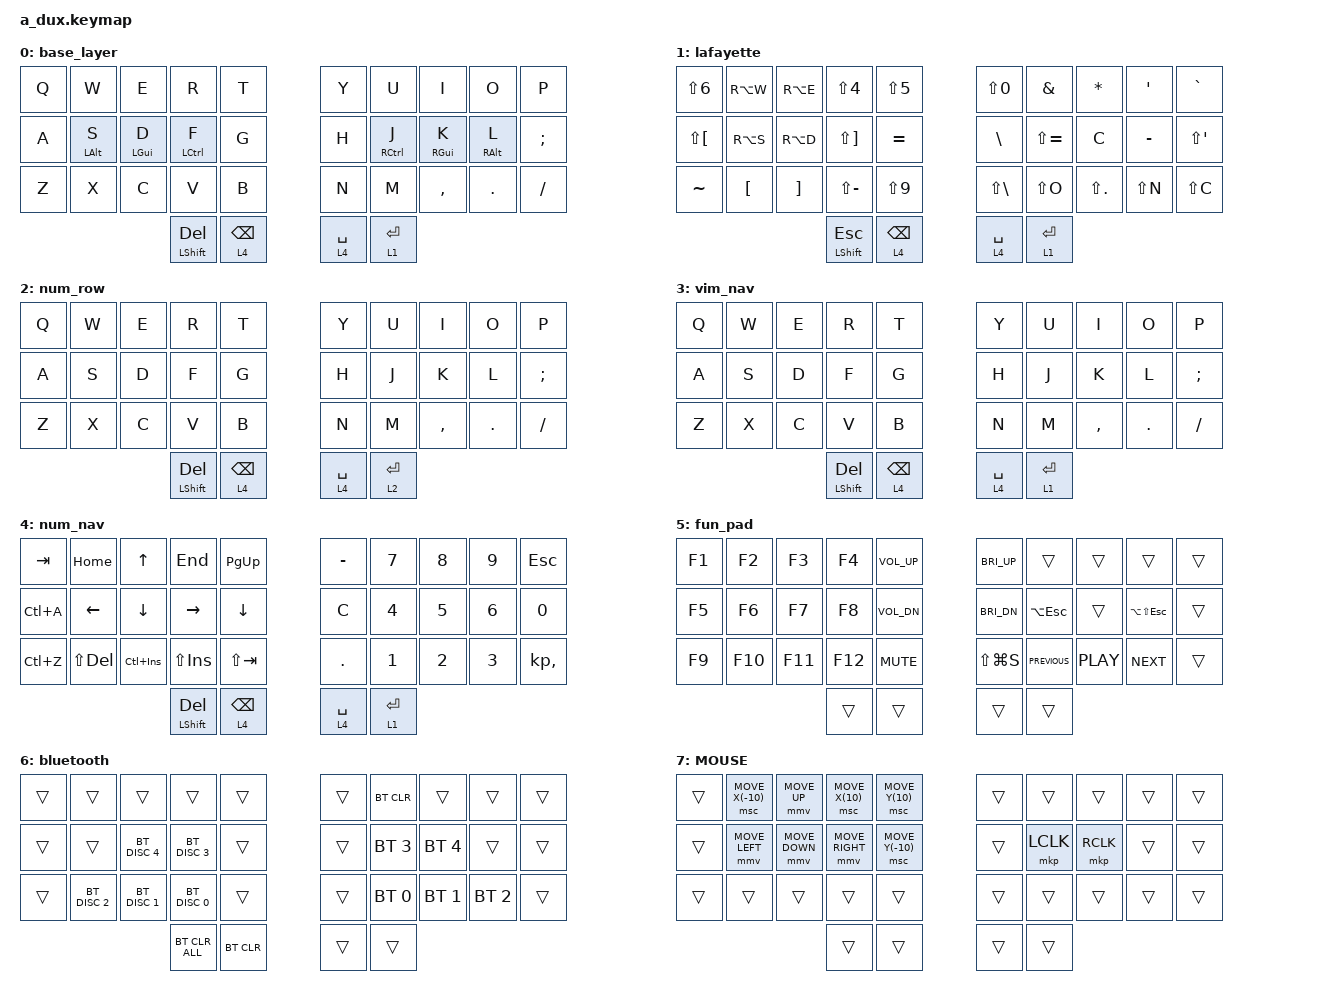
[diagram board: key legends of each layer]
/*
 * Copyright (c) 2021 The ZMK Contributors
 *
 * SPDX-License-Identifier: MIT
 */

#define ZMK_POINTING_DEFAULT_MOVE_VAL 600  // default: 600
#define ZMK_POINTING_DEFAULT_SCRL_VAL 10    // default: 10

#include <behaviors.dtsi>
#include <dt-bindings/zmk/bt.h>
#include <dt-bindings/zmk/keys.h>
#include <dt-bindings/zmk/pointing.h>

/ {
    behaviors {
        hml: hml {
            compatible = "zmk,behavior-hold-tap";
            flavor = "balanced";
            tapping-term-ms = <280>;
            quick-tap-ms = <175>;
            #binding-cells = <2>;
            bindings = <&kp>, <&kp>;

            hold-trigger-key-positions = <5 6 7 8 9 19 18 17 16 15 25 26 27 28 29>;
            require-prior-idle-ms = <150>;
            hold-trigger-on-release;
        };

        hmr: hmr {
            compatible = "zmk,behavior-hold-tap";
            flavor = "balanced";
            tapping-term-ms = <280>;
            quick-tap-ms = <175>;
            #binding-cells = <2>;
            bindings = <&kp>, <&kp>;

            hold-trigger-key-positions = <4 3 2 1 0 10 11 12 13 14 20 21 22 23 24>;
            require-prior-idle-ms = <150>;
            hold-trigger-on-release;
        };
    };

    combos {
        compatible = "zmk,combos";

        combo_fun_pad {
            bindings = <&mo 5>;
            key-positions = <32 31>;
        };

        combo_bt_pad {
            bindings = <&mo 6>;
            key-positions = <20 0>;
        };

        combo_mouse {
            bindings = <&mo 7>;
            key-positions = <30 33>;
        };

        Function5 {
            bindings = <&kp LA(F5)>;
            key-positions = <0 2>;
            require-prior-idle-ms = <233>;
            layers = <0>;
        };

        Function12 {
            bindings = <&kp LA(F12)>;
            key-positions = <0 3>;
            require-prior-idle-ms = <233>;
            layers = <0>;
        };
    };

    keymap {
        compatible = "zmk,keymap";

        // This is a sample keymap intended to be replaced with your own

        base_layer {
            bindings = <
&kp Q  &kp W            &kp E            &kp R         &kp T                                     &kp Y        &kp U         &kp I             &kp O             &kp P
&kp A  &hml LEFT_ALT S  &hml LEFT_GUI D  &hml LCTRL F  &kp G                                     &kp H        &hmr RCTRL J  &hmr RIGHT_GUI K  &hmr RIGHT_ALT L  &kp SEMI
&kp Z  &kp X            &kp C            &kp V         &kp B                                     &kp N        &kp M         &kp COMMA         &kp DOT           &kp SLASH
                                                       &mt LSHFT DEL  &lt 4 BSPC    &lt 4 SPACE  &lt 1 ENTER
            >;
        };

        lafayette {
            bindings = <
&kp LS(NUMBER_6)      &kp RA(W)  &kp RA(E)  &kp LS(N4)             &kp LS(N5)                                &kp LS(N0)         &kp AMPS       &kp STAR        &kp SQT    &kp GRAVE
&kp LS(LEFT_BRACKET)  &kp RA(S)  &kp RA(D)  &kp LS(RIGHT_BRACKET)  &kp EQUAL                                 &kp BSLH           &kp LS(EQUAL)  &kp C           &kp MINUS  &kp LS(SINGLE_QUOTE)
&kp TILDE             &kp LBKT   &kp RBKT   &kp LS(MINUS)          &kp LS(N9)                                &kp LS(BACKSLASH)  &kp LS(O)      &kp LS(PERIOD)  &kp LS(N)  &kp LS(C)
                                                                   &mt LSHFT ESC  &lt 4 BSPC    &lt 4 SPACE  &lt 1 ENTER
            >;
        };

        num_row {
            bindings = <
&kp Q  &kp W  &kp E  &kp R  &kp T                                     &kp Y        &kp U  &kp I      &kp O    &kp P
&kp A  &kp S  &kp D  &kp F  &kp G                                     &kp H        &kp J  &kp K      &kp L    &kp SEMI
&kp Z  &kp X  &kp C  &kp V  &kp B                                     &kp N        &kp M  &kp COMMA  &kp DOT  &kp SLASH
                            &mt LSHFT DEL  &lt 4 BSPC    &lt 4 SPACE  &lt 2 ENTER
            >;
        };

        vim_nav {
            bindings = <
&kp Q  &kp W  &kp E  &kp R  &kp T                                     &kp Y        &kp U  &kp I      &kp O    &kp P
&kp A  &kp S  &kp D  &kp F  &kp G                                     &kp H        &kp J  &kp K      &kp L    &kp SEMI
&kp Z  &kp X  &kp C  &kp V  &kp B                                     &kp N        &kp M  &kp COMMA  &kp DOT  &kp SLASH
                            &mt LSHFT DEL  &lt 4 BSPC    &lt 4 SPACE  &lt 1 ENTER
            >;
        };

        num_nav {
            bindings = <
&kp TAB    &kp HOME        &kp UP_ARROW  &kp END      &kp PAGE_UP                               &kp MINUS    &kp N7  &kp N8  &kp N9  &kp ESC
&kp LC(A)  &kp LEFT        &kp DOWN      &kp RIGHT    &kp DOWN                                  &kp C        &kp N4  &kp N5  &kp N6  &kp N0
&kp LC(Z)  &kp LS(DELETE)  &kp LC(INS)   &kp LS(INS)  &kp LS(TAB)                               &kp DOT      &kp N1  &kp N2  &kp N3  &kp KP_COMMA
                                                      &mt LSHFT DEL  &lt 4 BSPC    &lt 4 SPACE  &lt 1 ENTER
            >;
        };

        fun_pad {
            bindings = <
&kp F1  &kp F2   &kp F3   &kp F4   &kp C_VOL_UP                    &kp C_BRI_UP   &trans          &trans      &trans              &trans
&kp F5  &kp F6   &kp F7   &kp F8   &kp C_VOL_DN                    &kp C_BRI_DN   &kp LA(ESCAPE)  &trans      &kp LA(LS(ESCAPE))  &trans
&kp F9  &kp F10  &kp F11  &kp F12  &kp C_MUTE                      &kp LS(LG(S))  &kp C_PREVIOUS  &kp C_PLAY  &kp C_NEXT          &trans
                                   &trans        &trans    &trans  &trans
            >;
        };

        bluetooth {
            bindings = <
&trans  &trans         &trans         &trans         &trans                                &trans  &bt BT_CLR    &trans        &trans        &trans
&trans  &trans         &bt BT_DISC 4  &bt BT_DISC 3  &trans                                &trans  &bt BT_SEL 3  &bt BT_SEL 4  &trans        &trans
&trans  &bt BT_DISC 2  &bt BT_DISC 1  &bt BT_DISC 0  &trans                                &trans  &bt BT_SEL 0  &bt BT_SEL 1  &bt BT_SEL 2  &trans
                                                     &bt BT_CLR_ALL  &bt BT_CLR    &trans  &trans
            >;
        };

        MOUSE {
            bindings = <
&trans  &msc MOVE_X(-10)  &mmv MOVE_UP    &msc MOVE_X(10)  &msc MOVE_Y(10)                     &trans  &trans     &trans     &trans  &trans
&trans  &mmv MOVE_LEFT    &mmv MOVE_DOWN  &mmv MOVE_RIGHT  &msc MOVE_Y(-10)                    &trans  &mkp LCLK  &mkp RCLK  &trans  &trans
&trans  &trans            &trans          &trans           &trans                              &trans  &trans     &trans     &trans  &trans
                                                           &trans            &trans    &trans  &trans
            >;
        };
    };
};
